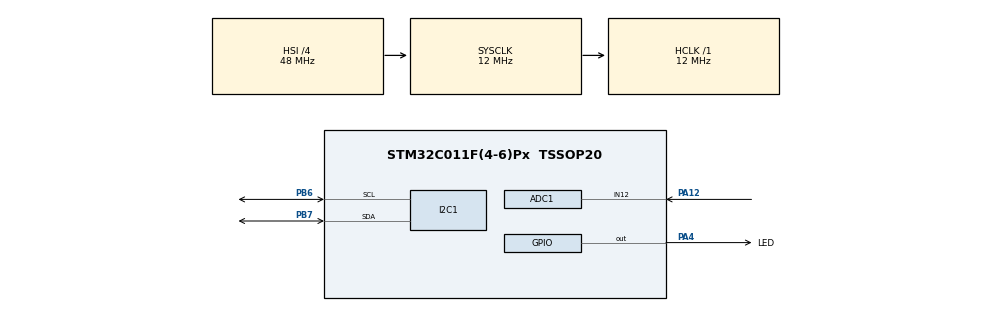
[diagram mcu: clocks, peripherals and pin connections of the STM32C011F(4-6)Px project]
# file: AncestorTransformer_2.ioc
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ADC1.ContinuousConvMode=DISABLE
ADC1.NbrOfConversionFlag=0
ADC1.SamplingTimeCommon1=ADC_SAMPLETIME_160CYCLES_5
ADC1.SelectedChannel=ADC_CHANNEL_12
ADC1.master=1
I2C1.Timing=0x00402D41
Mcu.Family=STM32C0
Mcu.Name=STM32C011F(4-6)Px
Mcu.Package=TSSOP20
PA12\ [PA10].Mode=IN12
PA12\ [PA10].Signal=ADC1_IN12
PA4.GPIO_Label=LED
PA4.Signal=GPIO_Output
PB6.Mode=I2C
PB6.Signal=I2C1_SCL
PB7.Mode=I2C
PB7.Signal=I2C1_SDA
ProjectManager.HeapSize=0x200
ProjectManager.StackSize=0x400
ProjectManager.TargetToolchain=CMake
RCC.ADCFreq_Value=12000000
RCC.AHBFreq_Value=12000000
RCC.CortexFreq_Value=12000000
RCC.EXTERNAL_CLOCK_VALUE=12288000
RCC.HCLKFreq_Value=12000000
RCC.HSE_VALUE=8000000
RCC.HSI_VALUE=48000000
RCC.LSE_VALUE=32768
RCC.SYSCLKFreq_VALUE=12000000
board=custom

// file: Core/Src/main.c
/* USER CODE BEGIN Header */
/**
  ******************************************************************************
  * @file           : main.c
  * @brief          : Main program body
  ******************************************************************************
  * @attention
  *
  * Copyright (c) 2026 STMicroelectronics.
  * All rights reserved.
  *
  * This software is licensed under terms that can be found in the LICENSE file
  * in the root directory of this software component.
  * If no LICENSE file comes with this software, it is provided AS-IS.
  *
  ******************************************************************************
  */
/* USER CODE END Header */
#include "main.h"
#include "adc.h"
#include "i2c.h"
#include "gpio.h"

/* USER CODE BEGIN Includes */
#include <stdint.h>
#include <string.h>
#include <oled.h>
#include <stdio.h>
#include <sys/_intsup.h>
/* USER CODE END Includes */

/* USER CODE BEGIN PD */
#define MOVE_THRES   20U        /* 活动判定：脱离参考点 ±20 码才算"有人在动" */
#define HYS          10U        /* 换档迟滞(码)，防止停在阈值上抖动 */
#define IDLE_MS      60000UL    /* 无动作关机时间 (60 s) */
#define SAMPLE_MS    50U        /* 采样周期 (50 ms = 20 Hz) */
/* USER CODE END PD */

void SystemClock_Config(void);

/* USER CODE BEGIN 0 */
//阈值表
static const uint16_t kThresh[6] = { 4070, 3730, 2032, 395, 25, 0 };
//图片表
static const Image *const kImg[6] = {
    &stage6Img, &stage5Img, &stage4Img, &stage3Img, &stage2Img, &stage1Img };
//文字表
    static const char *const kTxt[6] = {
    "梁祖", "梁神", "梁圣", "梁子", "牢梁", "小难梁" };

/* 无迟滞判档：返回 0..5 */
static uint8_t StageFromValue(uint16_t v)
{
    for (uint8_t s = 0; s < 5; s++) {
        if (v >= kThresh[s]) return s;   /* 0..4 */
    }
    return 5;                            /* 最低档，兜底 */
}

/* 带迟滞判档：cur = 0xFF 表示还没有档位（首帧，直接返回）
   档位 s 的区间是 [kThresh[s], kThresh[s-1])：
     往高档走 -> 要越过上边界 kThresh[cur-1] + HYS
     往低档走 -> 要越过下边界 kThresh[cur]   - HYS            */
static uint8_t StageFromValueHyst(uint16_t v, uint8_t cur) //v:当前值 cur:上一次的档位
{
    uint8_t s = StageFromValue(v);
    if (cur == 0xFFU || s == cur) return s;                 /* 首帧 / 没跨档 */
    if (s < cur)                                            /* 往高档 */
        return (v >= (uint16_t)(kThresh[cur - 1U] + HYS)) ? s : cur;
    return (v <= (uint16_t)(kThresh[cur] - HYS)) ? s : cur; /* 往低档 */
}

//单次ADC采样
static uint16_t AdcReadOnce(void)          /* 单次转换：启动 -> 等完成 -> 取值 -> 关 ADC */
{
    uint16_t v = 0xFFFFU;
    HAL_ADC_Start(&hadc1);
    if (HAL_ADC_PollForConversion(&hadc1, 5) == HAL_OK) {
        v = (uint16_t)HAL_ADC_GetValue(&hadc1);
    }
    HAL_ADC_Stop(&hadc1);                  /* ADEN=0，两次采样之间 ADC 完全断电 */
    return v;
}

/* 睡 ms 毫秒：Sleep 模式，CPU 停但 SysTick 还在走 */
static void SleepMs(uint32_t ms)
{
    uint32_t t = HAL_GetTick() + ms;
    while ((int32_t)(t - HAL_GetTick()) > 0) {
        __WFI();
    }
}

/* 关机：不复返，只能按复位键回来 */
static void PowerOff(void)
{
    OLED_DisPlay_Off();                  /* ★ 必须先关 OLED，否则它继续吃 10~25 mA */
    HAL_ADC_Stop(&hadc1);

    HAL_SuspendTick();                   /* 停掉 1 ms 中断 */
    SCB->ICSR = SCB_ICSR_PENDSTCLR_Msk;  /* 清掉可能已挂起的 SysTick */
    __disable_irq();

    while (1) {
        HAL_PWREx_EnterSHUTDOWNMode();   /* 正常不复返；万一返回就再进一次 */
    }
}
/* USER CODE END 0 */

int main(void)
{

  /* USER CODE BEGIN 1 */
  uint16_t value   = 0;       /* 当前 ADC 值 */
  uint8_t  stage   = 0xFFU;   /* 当前显示档位，0xFF = 未绘制 */
  uint16_t ref     = 0;       /* 活动判定参考点 */
  uint32_t lastAct = 0;       /* 最后一次"有人在动"的时刻 */
  /* USER CODE END 1 */

  /* MCU Configuration--------------------------------------------------------*/

  /* Reset of all peripherals, Initializes the Flash interface and the Systick. */
  HAL_Init();

  /* Configure the system clock */
  SystemClock_Config();

  /* Initialize all configured peripherals */
  MX_GPIO_Init();
  MX_ADC1_Init();
  MX_I2C1_Init();
  /* USER CODE BEGIN 2 */
    /* ---- LED 上电指示 0.5 s（低电平点亮）---- */
  HAL_GPIO_WritePin(LED_GPIO_Port, LED_Pin, GPIO_PIN_SET);   /* 先确保灭 */
  HAL_Delay(20);
  OLED_Init();
  OLED_SetContrast(0x4F); /* 降低对比度省电 */
  HAL_GPIO_WritePin(LED_GPIO_Port, LED_Pin, GPIO_PIN_RESET); /* 亮 */
  HAL_Delay(500);
  HAL_GPIO_WritePin(LED_GPIO_Port, LED_Pin, GPIO_PIN_SET);   /* 灭 */

  /* ---- ADC 校准 ---- */
  HAL_ADC_Stop(&hadc1);
  HAL_ADCEx_Calibration_Start(&hadc1);

  /* ---- 状态初值 ---- */
  value = AdcReadOnce();
  if (value == 0xFFFFU) value = 0;   /* 采样失败也不影响启动 */
  ref     = value;                   /* 参考点 = 开机位置 */
  stage   = 0xFFU;                   /* 强制首帧绘制 */
  lastAct = HAL_GetTick();
  /* USER CODE END 2 */

  /* Infinite loop */
  /* USER CODE BEGIN WHILE */
  while (1)
  {
    uint16_t v, d;
    uint8_t  now;

    /* ---------- ① 采样 ---------- */
    v = AdcReadOnce();
    if (v == 0xFFFFU) {           /* 采样失败：跳过这一拍，不污染状态 */
        SleepMs(SAMPLE_MS);
        continue;
    }
    value = v;

    /* ---------- ② 有人在动吗？（喂关机计时器）---------- */
    d = (value > ref) ? (uint16_t)(value - ref) : (uint16_t)(ref - value);
    if (d > MOVE_THRES) {
        ref     = value;                 /* ★ 参考点只在这里更新 ★ */
        lastAct = HAL_GetTick();         /* 刷新"无动作"计时 */
    }

    /* ---------- ③ 显示：每拍都判档，只在跨档时重绘 ---------- */
    now = StageFromValueHyst(value, stage);
    if (now != stage) {
        stage = now;
        OLED_NewFrame();
        OLED_DrawImage(0, 0, kImg[stage], OLED_COLOR_NORMAL);
        OLED_PrintString(0, 0, kTxt[stage], &font12x12, OLED_COLOR_NORMAL);
        OLED_ShowFrame();                /* 约 23 ms，只在跨档时发生 */
    }

    /* ---------- ④ 1 分钟无动作 -> Shutdown（复位键唤醒）---------- */
    if ((uint32_t)(HAL_GetTick() - lastAct) > IDLE_MS) {
        PowerOff();                      /* 不复返 */
    }

    /* ---------- ⑤ 节拍：睡 50 ms ---------- */
    SleepMs(SAMPLE_MS);

    /* USER CODE END WHILE */

  }
}

void SystemClock_Config(void)
{
  RCC_OscInitTypeDef RCC_OscInitStruct = {0};
  RCC_ClkInitTypeDef RCC_ClkInitStruct = {0};

  __HAL_FLASH_SET_LATENCY(FLASH_LATENCY_0);

  /** Initializes the RCC Oscillators according to the specified parameters
  * in the RCC_OscInitTypeDef structure.
  */
  RCC_OscInitStruct.OscillatorType = RCC_OSCILLATORTYPE_HSI;
  RCC_OscInitStruct.HSIState = RCC_HSI_ON;
  RCC_OscInitStruct.HSIDiv = RCC_HSI_DIV4;
  RCC_OscInitStruct.HSICalibrationValue = RCC_HSICALIBRATION_DEFAULT;
  if (HAL_RCC_OscConfig(&RCC_OscInitStruct) != HAL_OK)
  {
    Error_Handler();
  }

  /** Initializes the CPU, AHB and APB buses clocks
  */
  RCC_ClkInitStruct.ClockType = RCC_CLOCKTYPE_HCLK|RCC_CLOCKTYPE_SYSCLK
                              |RCC_CLOCKTYPE_PCLK1;
  RCC_ClkInitStruct.SYSCLKSource = RCC_SYSCLKSOURCE_HSI;
  RCC_ClkInitStruct.SYSCLKDivider = RCC_SYSCLK_DIV1;
  RCC_ClkInitStruct.AHBCLKDivider = RCC_HCLK_DIV1;
  RCC_ClkInitStruct.APB1CLKDivider = RCC_APB1_DIV1;

  if (HAL_RCC_ClockConfig(&RCC_ClkInitStruct, FLASH_LATENCY_0) != HAL_OK)
  {
    Error_Handler();
  }
}

void Error_Handler(void)
{
  __disable_irq();
  while (1)
  {
  }
}
